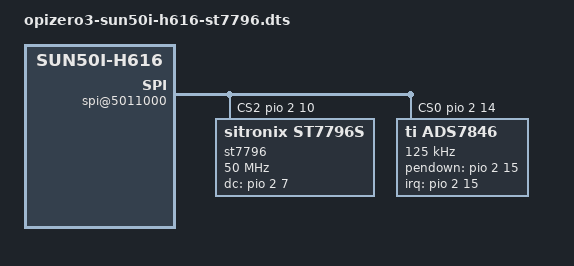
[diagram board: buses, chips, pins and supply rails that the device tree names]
/dts-v1/;
/plugin/;

/*
.dts for Orange Pi Zero 3. Tested on Debian Bookworm 6.1.31 official image from orangepi.org.
This overlay does not use SPI1 CS1 (PH9), so you can use it with default spi1_cs1_spidev overlay simultaneously.

MOSI      	PH7 SPI1_MOSI
MISO      	PH8 SPI1_MISO
CLK       	PH6 SPI1_CLK
TFT_CS    	PC10   (reg = <2>)
DC        	PC7 
TOUCH_CS  	PC14   (reg = <0>)
TOUCH_IRQ 	PC15
LED       	3.3V
*/


/ {
    compatible = "allwinner,sun50i-h616";

    fragment@0 {
        target-path = "/soc/spi@5011000";
        __overlay__ {
            num-cs = <3>;

                cs-gpios = <&pio 2 14 0>, /* TOUCH_CS PC14 */
			   <0>,           /* spidev1.1 compatibility */
			   <&pio 2 10 0>; /* TFT_CS PC10 */

            status = "okay";
            #address-cells = <1>;
            #size-cells = <0>;

            st7796: st7796s@0{
                compatible = "sitronix,st7796s";
                reg = <2>;
                spi-max-frequency = <50000000>;
                fps = <30>;
                buswidth = <8>;
                dc-gpios = <&pio 2 7 0>;     /* TFT D/C PC7 */
                rotate = <270>;
                debug = <1>;
            };
        };
    };

    fragment@1 {
        target-path = "/soc/spi@5011000";
        __overlay__ {
            #address-cells = <1>;
            #size-cells = <0>;
            status = "okay";
            ads7846@0 {
                compatible = "ti,ads7846";
                reg = <0>;
                status = "okay";
                spi-max-frequency = <125000>;
                interrupts = <2 15 2>; /* high-to-low edge triggered */
                    interrupt-parent = <&pio>;   /* PC15 */
                pendown-gpio = <&pio 2 15 0>;

                /* driver defaults, optional */

               ti,keep-vref-on = <1>;
               ti,x-min = /bits/ 16 <00>;
               ti,x-max = /bits/ 16 <0xFFF>;
               ti,y-min = /bits/ 16 <00>;
               ti,y-max = /bits/ 16 <0xFFF>;
               ti,x-plate-ohms = /bits/ 16 <60>;
               ti,pressure-max = /bits/ 16 <255>;
                ti,swap-xy = <0>;
	    };
	};
    };
};
